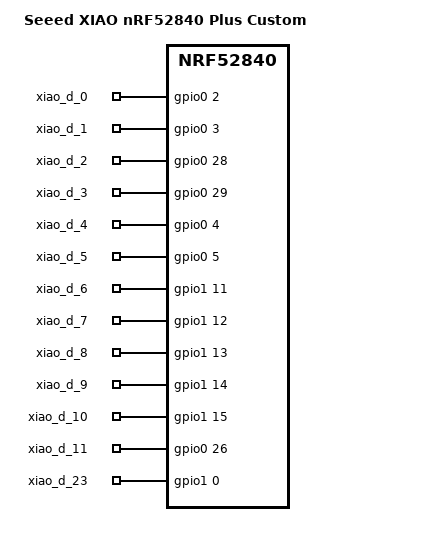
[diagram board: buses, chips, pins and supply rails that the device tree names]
/dts-v1/;
#include <nordic/nrf52840_qiaa.dtsi>
#include <dt-bindings/gpio/gpio.h>

/ {
    model = "Seeed XIAO nRF52840 Plus Custom";
    compatible = "seeed,xiao-ble-plus";

    chosen {
        zephyr,sram = &sram0;
        zephyr,flash = &flash0;
        zephyr,code-partition = &slot0_partition;
    };

    // This block links your custom label definitions to the physical hardware pins
    xiao_pins: xiao_pins {
        compatible = "gpio-keys";
        // Mapping baseline pins 0-11
        xiao_d_0:  pin_0  { gpios = <&gpio0 2 GPIO_ACTIVE_HIGH>; };
        xiao_d_1:  pin_1  { gpios = <&gpio0 3 GPIO_ACTIVE_HIGH>; };
        xiao_d_2:  pin_2  { gpios = <&gpio0 28 GPIO_ACTIVE_HIGH>; };
        xiao_d_3:  pin_3  { gpios = <&gpio0 29 GPIO_ACTIVE_HIGH>; };
        xiao_d_4:  pin_4  { gpios = <&gpio0 4 GPIO_ACTIVE_HIGH>; };
        xiao_d_5:  pin_5  { gpios = <&gpio0 5 GPIO_ACTIVE_HIGH>; };
        xiao_d_6:  pin_6  { gpios = <&gpio1 11 GPIO_ACTIVE_HIGH>; };
        xiao_d_7:  pin_7  { gpios = <&gpio1 12 GPIO_ACTIVE_HIGH>; };
        xiao_d_8:  pin_8  { gpios = <&gpio1 13 GPIO_ACTIVE_HIGH>; };
        xiao_d_9:  pin_9  { gpios = <&gpio1 14 GPIO_ACTIVE_HIGH>; };
        xiao_d_10: pin_10 { gpios = <&gpio1 15 GPIO_ACTIVE_HIGH>; };
        xiao_d_11: pin_11 { gpios = <&gpio0 26 GPIO_ACTIVE_HIGH>; };
        
        // Custom Plus Mapping: Defining Pin 23 as the hardware pad P1.00
        xiao_d_23: pin_23 { gpios = <&gpio1 0 GPIO_ACTIVE_HIGH>; };
    };
};

&flash0 {
    partitions {
        compatible = "fixed-partitions";
        #address-cells = <1>;
        #size-cells = <1>;

        boot_partition: partition@0 {
            label = "mcuboot";
            reg = <0x00000000 0x0000c000>;
        };
        slot0_partition: partition@c000 {
            label = "image-0";
            reg = <0x0000c000 0x000e2000>;
        };
        storage_partition: partition@ee000 {
            label = "storage";
            reg = <0x000ee000 0x00012000>;
        };
    };
};

&gpio0 { status = "okay"; };
&gpio1 { status = "okay"; };
